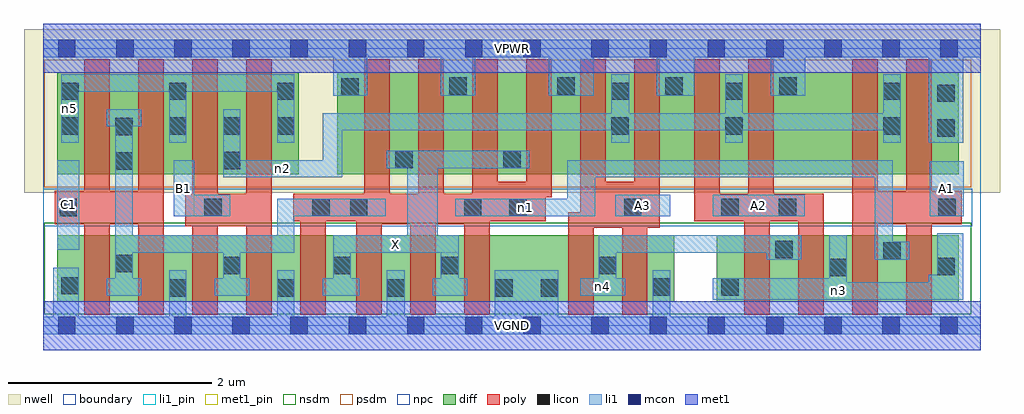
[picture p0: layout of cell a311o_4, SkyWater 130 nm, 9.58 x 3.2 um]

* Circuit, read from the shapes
.subckt a311o_4 A1 A2 A3 B1 C1 VGND VPWR X n1 n2 n3 n4 n5
XM1 n1 C1 VGND VSUBS sky130_fd_pr__nfet_01v8 w=0.65 l=0.25 m=2
XM2 n1 B1 VGND VSUBS sky130_fd_pr__nfet_01v8 w=0.65 l=0.25 m=2
XM3 X n1 VGND VSUBS sky130_fd_pr__nfet_01v8 w=0.65 l=0.25 m=4
XM4 n4 A3 VGND VSUBS sky130_fd_pr__nfet_01v8 w=0.65 l=0.25 m=2
XM5 n4 A2 n3 VSUBS sky130_fd_pr__nfet_01v8 w=0.65 l=0.25 m=2
XM6 n1 A1 n3 VSUBS sky130_fd_pr__nfet_01v8 w=0.65 l=0.25 m=2
XM7 n1 C1 n5 n6 sky130_fd_pr__pfet_01v8 w=1 l=0.25 m=2
XM8 n2 B1 n5 n6 sky130_fd_pr__pfet_01v8 w=1 l=0.25 m=2
XM9 X n1 VPWR n6 sky130_fd_pr__pfet_01v8 w=1 l=0.25 m=4
XM10 n2 A3 VPWR n6 sky130_fd_pr__pfet_01v8 w=1 l=0.25 m=2
XM11 n2 A2 VPWR n6 sky130_fd_pr__pfet_01v8 w=1 l=0.25 m=2
XM12 n2 A1 VPWR n6 sky130_fd_pr__pfet_01v8 w=1 l=0.25 m=2
.ends

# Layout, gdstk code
import gdstk
lib = gdstk.Library(unit=1e-6, precision=1e-09)
def R(c, l, rs):  # rectangles x0, y0, x1, y1
    for r in rs: c.add(gdstk.rectangle(r[:2], r[2:], *l))
def A(c, l, x, y, w, h, nx, ny, dx, dy):  # array of equal rectangles
    R(c, l, [(x+i*dx, y+j*dy, x+i*dx+w, y+j*dy+h) for i in range(nx) for j in range(ny)])
nwell = (64, 20)
diff = (65, 20)
poly = (66, 20)
licon = (66, 44)
li1_pin = (67, 16)
li1 = (67, 20)
mcon = (67, 44)
met1_pin = (68, 16)
met1 = (68, 20)
nsdm = (93, 44)
psdm = (94, 20)
npc = (95, 20)
boundary = (235, 4)

a311o_4 = lib.new_cell('a311o_4')
R(a311o_4, nwell, [(-0.19,1.305,9.39,2.91), (0,1.305,9.2,2.91)])
R(a311o_4, diff, [(0.135,0.235,6.195,0.885), (6.61,0.235,8.985,0.885), (0.135,1.485,2.505,2.485), (2.885,1.485,8.985,2.485)])
A(a311o_4, poly, 0.4, 0.105, 0.25, 2.51, 4, 1, 0.53, 0)
A(a311o_4, poly, 3.07, 0.105, 0.25, 1.19, 3, 1, 0.53, 0)
R(a311o_4, poly, [(2.52,0.105,2.77,1.295), (5.15,0.105,5.4,1.11), (5.68,0.105,5.93,1.41), (6.88,0.105,7.13,1.295), (7.41,0.105,7.66,1.295), (7.94,0.105,8.19,2.615), (8.47,0.105,8.72,2.615), (5.27,0.96,6.05,1.41), (5.27,0.96,5.52,2.615), (5.8,0.96,6.05,2.615), (1.395,0.975,2.24,1.295), (0.11,0.995,1.18,1.325), (3.07,0.995,4.38,1.295), (3.15,0.995,3.4,2.615), (3.68,0.995,3.93,2.615), (7.94,0.995,9.015,1.325), (2.455,1.025,4.93,1.295), (4.21,1.025,4.46,2.615), (6.39,1.025,6.64,2.615), (6.39,1.025,7.66,1.295), (6.92,1.025,7.17,2.615), (4.21,1.26,4.99,1.41), (4.74,1.41,4.99,2.615)])
A(a311o_4, licon, 1.235, 1.875, 0.17, 0.17, 3, 1, 0.53, 0)
A(a311o_4, licon, 0.175, 2.215, 0.17, 0.17, 3, 1, 1.06, 0)
A(a311o_4, licon, 3.985, 2.265, 0.17, 0.17, 3, 1, 1.06, 0)
R(a311o_4, licon, [(1.235,0.285,1.405,0.455), (2.295,0.285,2.465,0.455), (3.375,0.285,3.545,0.455), (4.435,0.285,4.605,0.455), (4.88,0.285,5.05,0.455), (5.985,0.295,6.155,0.465), (6.655,0.295,6.825,0.465), (0.175,0.305,0.345,0.475), (7.715,0.485,7.885,0.655), (8.775,0.495,8.945,0.665), (1.765,0.505,1.935,0.675), (2.845,0.505,3.015,0.675), (3.905,0.505,4.075,0.675), (5.455,0.505,5.625,0.675), (0.705,0.525,0.875,0.695), (8.245,0.65,8.415,0.82), (7.185,0.66,7.355,0.83), (0.16,1.075,0.33,1.245), (1.58,1.075,1.75,1.245), (2.64,1.075,2.81,1.245), (3.01,1.075,3.18,1.245), (4.13,1.075,4.3,1.245), (4.575,1.075,4.745,1.245), (5.7,1.075,5.87,1.245), (6.655,1.075,6.825,1.245), (7.22,1.075,7.39,1.245), (8.785,1.075,8.955,1.245), (0.705,1.53,0.875,1.7), (1.765,1.535,1.935,1.705), (3.455,1.545,3.625,1.715), (4.515,1.545,4.685,1.715), (8.775,1.855,8.945,2.025), (0.705,1.87,0.875,2.04), (0.175,1.875,0.345,2.045), (5.575,1.875,5.745,2.045), (6.695,1.875,6.865,2.045), (8.245,1.875,8.415,2.045), (8.775,2.195,8.945,2.365), (5.575,2.215,5.745,2.385), (6.695,2.215,6.865,2.385), (8.245,2.215,8.415,2.385), (2.925,2.255,3.095,2.425), (7.225,2.265,7.395,2.435)])
R(a311o_4, li1_pin, [(2.845,0.715,4.075,0.885), (0.135,0.745,0.35,1.625), (1.28,1.075,1.48,1.625), (5.615,1.075,6.155,1.285), (6.57,1.075,7.475,1.285), (8.7,1.075,9.035,1.615)])
A(a311o_4, li1, 0.175, 1.795, 0.17, 0.67, 3, 1, 1.06, 0)
R(a311o_4, li1, [(0,-0.085,9.2,0.085), (0.095,-0.085,0.345,0.565), (1.235,-0.085,1.405,0.545), (2.295,-0.085,2.465,0.545), (3.37,-0.085,3.545,0.545), (4.43,-0.085,5.055,0.545), (5.98,-0.085,6.155,0.545), (6.57,0.255,9.03,0.425), (6.57,0.255,7.885,0.465), (7.715,0.255,7.885,0.885), (8.69,0.255,9.03,0.5), (8.775,0.255,9.03,0.905), (0.62,0.295,0.96,0.465), (0.705,0.295,0.875,2.125), (1.68,0.295,2.02,0.465), (1.765,0.295,1.935,0.885), (2.74,0.295,3.1,0.465), (2.845,0.295,3.015,0.885), (3.82,0.295,4.16,0.465), (3.9,0.295,4.075,0.885), (5.27,0.295,5.71,0.465), (5.45,0.295,5.625,0.885), (7.1,0.645,7.44,0.885), (8.16,0.645,8.335,1.625), (8.16,0.645,8.5,0.825), (0.705,0.715,2.465,0.885), (2.295,0.715,2.465,1.245), (2.845,0.715,4.075,0.885), (3.57,0.715,3.87,1.715), (5.45,0.715,7.44,0.885), (0.135,0.745,0.35,1.625), (1.28,1.075,1.48,1.625), (1.28,1.075,1.835,1.285), (2.295,1.075,3.36,1.245), (4.045,1.075,5.415,1.245), (5.14,1.075,5.415,1.625), (5.615,1.075,6.155,1.285), (6.57,1.075,7.475,1.285), (8.7,1.075,9.035,1.615), (1.765,1.455,1.935,2.125), (1.765,1.455,2.935,1.625), (2.74,1.455,2.935,2.085), (5.14,1.455,8.335,1.625), (3.37,1.545,4.77,1.715), (5.575,1.795,5.75,2.465), (6.695,1.795,6.865,2.465), (8.245,1.795,8.415,2.465), (8.69,1.795,9.03,2.805), (2.74,1.915,8.415,2.085), (0.62,1.955,0.96,2.125), (2.845,2.255,3.18,2.805), (3.9,2.255,4.24,2.805), (4.96,2.255,5.4,2.805), (6.02,2.255,6.39,2.805), (7.14,2.255,7.48,2.805), (0.175,2.295,2.465,2.465), (0,2.635,9.2,2.805)])
A(a311o_4, mcon, 0.145, -0.085, 0.17, 0.17, 5, 2, 0.57, 2.72)
A(a311o_4, mcon, 3, -0.085, 0.17, 0.17, 4, 2, 0.57, 2.72)
A(a311o_4, mcon, 5.38, -0.085, 0.17, 0.17, 3, 2, 0.57, 2.72)
A(a311o_4, mcon, 7.095, -0.085, 0.17, 0.17, 4, 2, 0.57, 2.72)
R(a311o_4, met1_pin, [(0,-0.24,9.2,0.24), (0,2.48,9.2,2.96)])
R(a311o_4, met1, [(0,-0.24,9.2,0.24), (0,2.48,9.2,2.96)])
R(a311o_4, nsdm, [(0.01,0.11,9.11,1.01)])
R(a311o_4, psdm, [(0.01,1.36,9.11,2.61)])
R(a311o_4, npc, [(0,0.975,9.12,1.345)])
R(a311o_4, boundary, [(0,0,9.2,2.72)])
a311o_4.add(gdstk.Label('A1', (8.867,1.345), layer=67, texttype=5))
a311o_4.add(gdstk.Label('A2', (7.022,1.18), layer=67, texttype=5))
a311o_4.add(gdstk.Label('A3', (5.885,1.18), layer=67, texttype=5))
a311o_4.add(gdstk.Label('B1', (1.38,1.35), layer=67, texttype=5))
a311o_4.add(gdstk.Label('C1', (0.242,1.185), layer=67, texttype=5))
a311o_4.add(gdstk.Label('X', (3.46,0.8), layer=67, texttype=5))
a311o_4.add(gdstk.Label('n4', (5.49,0.38), layer=67, texttype=5))
a311o_4.add(gdstk.Label('n3', (7.8,0.34), layer=67, texttype=5))
a311o_4.add(gdstk.Label('n1', (4.73,1.16), layer=67, texttype=5))
a311o_4.add(gdstk.Label('n5', (0.26,2.13), layer=67, texttype=5))
a311o_4.add(gdstk.Label('n2', (2.35,1.54), layer=67, texttype=5))
a311o_4.add(gdstk.Label('VPWR', (4.6,2.72), layer=68, texttype=5))
a311o_4.add(gdstk.Label('VGND', (4.6,0), layer=68, texttype=5))
a311o_4.add(gdstk.Label('A1', (8.867,1.345), layer=67, texttype=16))
a311o_4.add(gdstk.Label('A2', (7.022,1.18), layer=67, texttype=16))
a311o_4.add(gdstk.Label('A3', (5.885,1.18), layer=67, texttype=16))
a311o_4.add(gdstk.Label('B1', (1.38,1.35), layer=67, texttype=16))
a311o_4.add(gdstk.Label('C1', (0.242,1.185), layer=67, texttype=16))
a311o_4.add(gdstk.Label('X', (3.46,0.8), layer=67, texttype=16))
a311o_4.add(gdstk.Label('VPWR', (4.6,2.72), layer=68, texttype=16))
a311o_4.add(gdstk.Label('VGND', (4.6,0), layer=68, texttype=16))

lib.write_gds('a311o_4.gds')
